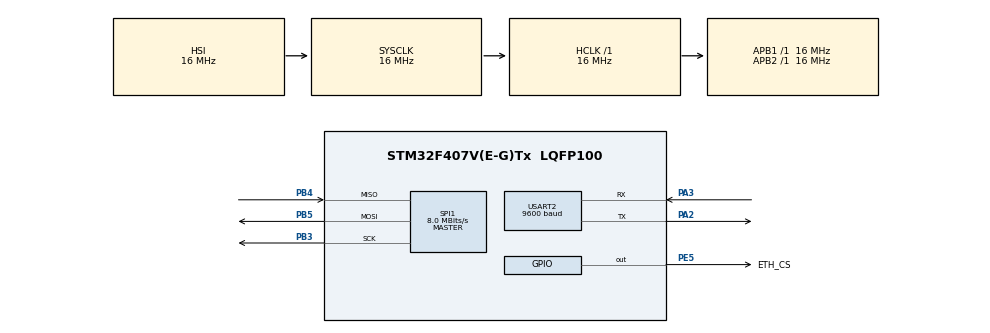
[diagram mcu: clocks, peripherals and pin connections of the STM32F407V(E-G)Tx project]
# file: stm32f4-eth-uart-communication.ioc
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Mcu.Family=STM32F4
Mcu.Name=STM32F407V(E-G)Tx
Mcu.Package=LQFP100
NVIC.PriorityGroup=NVIC_PRIORITYGROUP_4
NVIC.USART2_IRQn=true\:0\:0\:false\:false\:true\:true\:true
PA2.Mode=Asynchronous
PA2.Signal=USART2_TX
PA3.Mode=Asynchronous
PA3.Signal=USART2_RX
PB3.Mode=Full_Duplex_Master
PB3.Signal=SPI1_SCK
PB4.Mode=Full_Duplex_Master
PB4.Signal=SPI1_MISO
PB5.Mode=Full_Duplex_Master
PB5.Signal=SPI1_MOSI
PE5.GPIO_Label=ETH_CS
PE5.Signal=GPIO_Output
ProjectManager.HeapSize=0x200
ProjectManager.StackSize=0x400
ProjectManager.TargetToolchain=STM32CubeIDE
RCC.AHBFreq_Value=16000000
RCC.APB1Freq_Value=16000000
RCC.APB2Freq_Value=16000000
RCC.CortexFreq_Value=16000000
RCC.HSE_VALUE=25000000
RCC.HSI_VALUE=16000000
RCC.LSE_VALUE=32768
RCC.SYSCLKFreq_VALUE=16000000
RCC.VCOOutputFreq_Value=192000000
SPI1.CalculateBaudRate=8.0 MBits/s
SPI1.Direction=SPI_DIRECTION_2LINES
SPI1.Mode=SPI_MODE_MASTER
SPI1.VirtualType=VM_MASTER
USART2.BaudRate=9600
USART2.VirtualMode=VM_ASYNC
board=custom

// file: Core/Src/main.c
/* USER CODE BEGIN Header */
/**
  ******************************************************************************
  * @file           : main.c
  * @brief          : Main program body
  * @autor          : Leimer Guambaña
  ******************************************************************************
  * @attention
  *
  * <h2><center>&copy; Copyright (c) 2021 STMicroelectronics.
  * All rights reserved.</center></h2>
  *
  * This software component is licensed by ST under BSD 3-Clause license,
  * the "License"; You may not use this file except in compliance with the
  * License. You may obtain a copy of the License at:
  *                        opensource.org/licenses/BSD-3-Clause
  *
  ******************************************************************************\
  * Link Driver FT232R: https://www.usb-drivers.org/ft232r-usb-uart-driver.html
  * Link Pin out STM32F4 Shield: https://download.mikroe.com/documents/add-on-boards/click-shields/stm32f4-discovery/stm32f4-discovery-mikrobus-shield-user-manual-v100.pdf
  * Link Example 1: https://github.com/cnoviello/stm32-nucleof4/blob/master/stm32-nucleof4-ethshield1/src/main.c
  * Link Example 2: https://github.com/afiskon/stm32-w5500
  * Link Libreria ioLibrary_Driver:  https://github.com/Leimer-G/ioLibrary_Driver
  */
/* USER CODE END Header */

#include "main.h"

/* USER CODE BEGIN Includes */
#include <string.h>
#include <stdarg.h>
#include "stdio.h"

#include "socket.h"
#include "wizchip_conf.h"

/* USER CODE END Includes */

/* USER CODE BEGIN PD */

#define PORT_NUMBER   5000
#define SOCKET_NUMBER   0 //0-4
#define RX_UART_BUFFER_RECEPTION     15
#define RX_SOCKET_BUFFER_RECEPTION   15
/* USER CODE END PD */

SPI_HandleTypeDef hspi1;
UART_HandleTypeDef huart2;

/* USER CODE BEGIN PV */
uint8_t retVal, sockStatus;
uint8_t okReceptionUart = 1;

unsigned char recepcionSocket[RX_SOCKET_BUFFER_RECEPTION+1];
unsigned char recepcionUart[RX_UART_BUFFER_RECEPTION+1];

char buffer[256];
int lenBuffer;
/* USER CODE END PV */

void SystemClock_Config(void);
static void MX_GPIO_Init(void);
static void MX_SPI1_Init(void);
static void MX_USART2_UART_Init(void);
/* USER CODE BEGIN PFP */

void UART_Printf(const char *fmt);
void select_CS(void);
void unselect_CS(void);
void read_Buff(uint8_t *buff, uint16_t len);
void write_Buff(uint8_t *buff, uint16_t len);
uint8_t read_Byte(void);
void write_Byte(uint8_t byte);

void param_Connection(void);
void conectar_Socket_TCP(uint8_t socketNum, uint16_t portLocal);
void conectar_Socket_UDP(uint8_t socketNum, uint16_t portLocal);

/* USER CODE END PFP */

/* USER CODE BEGIN 0 */
void param_Connection() {
    UART_Printf("\r\ninit () llamado!\r\n");

    UART_Printf("Registro de devoluciones de llamada del W5500...\r\n");
    reg_wizchip_cs_cbfunc(select_CS, unselect_CS);
    reg_wizchip_spi_cbfunc(read_Byte, write_Byte);
    reg_wizchip_spiburst_cbfunc(read_Buff, write_Buff);

    UART_Printf("Iniciando funcion wizchip_init ()\r\n");
    uint8_t rx_tx_buff_sizes[] = {2, 2, 2, 2, 2, 2, 2, 2};
    wizchip_init(rx_tx_buff_sizes, rx_tx_buff_sizes);

    wiz_NetInfo net_info = { .mac 	= {0x00, 0x08, 0xdc, 0xab, 0xcd, 0xef},	// Mac address
                             .ip 	= {192, 168, 0, 20},					// IP address
                             .sn 	= {255, 255, 255, 0},					// Subnet mask
                             .gw 	= {192, 168, 0, 1},					// Gateway address
    						 .dns 	= {8, 8, 8, 8}};					// DNS

     UART_Printf("Iniciando funcion wizchip_setnetinfo ()\r\n");
     wizchip_setnetinfo(&net_info);
     wizchip_getnetinfo(&net_info);

    sprintf(buffer, "IP:  %d.%d.%d.%d\r\nGW:  %d.%d.%d.%d\r\nNet: %d.%d.%d.%d\r\nDNS: %d.%d.%d.%d\r\n",
            net_info.ip[0], net_info.ip[1], net_info.ip[2], net_info.ip[3],
            net_info.gw[0], net_info.gw[1], net_info.gw[2], net_info.gw[3],
            net_info.sn[0], net_info.sn[1], net_info.sn[2], net_info.sn[3],
    		net_info.dns[0], net_info.dns[1], net_info.dns[2], net_info.dns[3]);
    UART_Printf(buffer);
}

void conectar_Socket_UDP(uint8_t socketNum, uint16_t portLocal){
	/**Es necesario enviar un dato por socket debido:
	 * A que es necesario una IP de destino
	 * Al recibir un mensaje por socket este obtiene la IP y la guarda
	 * Se podria omitir este paso asignando una IP fija para ip Destination
	 * 		ejm ->uint8_t ipDestination[4] = {192.168.0.50}; // IP PC
	 */
	if((retVal = socket(socketNum, Sn_MR_UDP, portLocal, 0)) == 0){
		uint8_t ipDestination[4];
		uint16_t portDestination;
		uint16_t len;
		uint8_t sockInterrupt;
		uint32_t revDatagram;
		okReceptionUart = 1;
		while(1){
			/*Comprobamos si el estatus del socket esta en UPD*/
			if((sockStatus = getSn_SR(socketNum)) == SOCK_UDP) {
				/*Comprueba el servicio de interrupcion y verifica si existen datos entrantes*/
				if((sockInterrupt=getSn_IR(socketNum)) == Sn_IR_RECV){//verifica si llego datos verificar con o  Sn_IR values en w5500.h
					setSn_IR(socketNum, Sn_IR_RECV); /*Set el servicio de interruciones con la recepcion de datos*/
					/*Verificamos la longitud de buffer recibido*/
					if((len=getSn_RX_RSR(socketNum)) > 0){
						/*Recibimos los datos*/
						if((revDatagram=recvfrom(socketNum, recepcionSocket, len, ipDestination, &portDestination)) > 0){
							sprintf(buffer, "Dato recibido: * %s * de la IP Remota: %d.%d.%d.%d: %d\r\n",
									recepcionSocket,
									ipDestination[0], ipDestination[1], ipDestination[2], ipDestination[3], portDestination);
							UART_Printf(buffer);
							for( int i = 0; i < sizeof(recepcionSocket);  ++i )
								recepcionSocket[i] = (char)0;
						}else {
							sprintf(buffer, "Algo salio mal; Receive datagram : %ld\r\n", revDatagram);
							UART_Printf(buffer);
						}
					}
				}
                /*Compruebo si exiten datos recibidos por UART (Interrupcion)*/
				if (!okReceptionUart) {
					okReceptionUart = 1;
					/*Enviamos datos enviados de Uart por socket UDP*/
					retVal = sendto(socketNum, recepcionUart, sizeof(recepcionUart), ipDestination, portDestination);
					/*Verificamos envio correcto*/
					if (retVal == (int16_t) sizeof(recepcionUart)){
						sprintf(buffer, "Mensaje Enviando a la IP Remota: %d.%d.%d.%d: %d\r\n",
								ipDestination[0], ipDestination[1], ipDestination[2], ipDestination[3], portDestination);
						UART_Printf(buffer);
					}else{
						sprintf(buffer, "Algo salio mal; Return Value: %d\r\n", retVal);
						UART_Printf(buffer);
					}
				}
			}else if(sockStatus == SOCK_CLOSED) break;
			HAL_Delay(100);
		}
	}
}

void conectar_Socket_TCP(uint8_t socketNum, uint16_t portLocal){
	/* Abra el socket 0 como TCP_SOCKET con el puerto 5000*/
	if((retVal = socket(socketNum, Sn_MR_TCP, 5000, 0)) == 0) {
		/* Ponga el Socket en modo ESCUCHAR. Esto significa que estamos creando un servidor TCP. */
		if((retVal = listen(socketNum)) == SOCK_OK) {
			UART_Printf("Esperando conexion con el Socket...\r\n");
			/* Mientras el socket está en modo ESCUCHAR, esperamos una conexión remota */
			while((sockStatus = getSn_SR(socketNum)) == SOCK_LISTEN) HAL_Delay(500);

			okReceptionUart = 1;
			uint16_t len;
			uint8_t sockInterrupt;
			uint8_t ipDestination[4];
			uint16_t portDestination;
			uint32_t revData;
			/* Si la conexión está ESTABLECIDA con peer remoto*/
			while(1) {
				/* If connection is ESTABLISHED with remote peer */
				if((sockStatus = getSn_SR(socketNum)) == SOCK_ESTABLISHED) {
					/* Enviamos mensaje recibido de Uart */
					if(!okReceptionUart){
						okReceptionUart = 1;
						/* Recuperación del número de puerto y la IP del par remoto */
						getsockopt(socketNum, SO_DESTIP, ipDestination);
						getsockopt(socketNum, SO_DESTPORT, (uint8_t*)&portDestination);
						retVal = send(socketNum, recepcionUart, sizeof(recepcionUart));
						if( retVal == (int16_t)sizeof(recepcionUart)){
							sprintf(buffer, "Mensaje Enviando a la IP Remota: %d.%d.%d.%d: %d\r\n",
									ipDestination[0], ipDestination[1], ipDestination[2], ipDestination[3], portDestination);
							UART_Printf(buffer);
						}else{
							sprintf(buffer, "Algo salio mal; Return Value: %d\r\n", retVal);
							UART_Printf(buffer);
						}
					}

					/* Enviamos mensaje recibido de Socket */
					if((sockInterrupt = getSn_IR(socketNum)) == Sn_IR_CON){
						sprintf(buffer,"Conexion con el Socket Exitosa!, Socket Interrupt Value: %d\r\n", sockInterrupt);
						UART_Printf(buffer);
						setSn_IR(socketNum, Sn_IR_CON);
					}else if(sockInterrupt == Sn_IR_RECV || sockInterrupt == (Sn_IR_RECV|Sn_IR_SENDOK) ){
						setSn_IR(socketNum, Sn_IR_RECV);
						if ((len = getSn_RX_RSR(socketNum)) > 0){
							if((revData=recv(0,recepcionSocket, len)) > 0){
								getSn_DIPR(socketNum, ipDestination);
								portDestination = getSn_DPORT(socketNum);
								sprintf(buffer, "Dato recibido: * %s * de la IP Remota: %d.%d.%d.%d: %d\r\n",
										recepcionSocket,
										ipDestination[0], ipDestination[1], ipDestination[2], ipDestination[3], portDestination);
								UART_Printf(buffer);
								for( int i = 0; i < sizeof(recepcionSocket);  ++i )
									recepcionSocket[i] = (char)0;
							}else{
								sprintf(buffer, "Algo salio mal; Receive data : %ld\r\n", revData);
								UART_Printf(buffer);
							}
						}
					}
					HAL_Delay(500);
				}else{
					if(sockStatus == SOCK_CLOSE_WAIT) UART_Printf( "Socket cerrado\r\n");
					else{
						sprintf(buffer, "Algo salio mal; Socket Status: %d\r\n", sockStatus); /* Algo salió mal con el par remoto, tal vez la conexión se cerró inesperadamente */
						UART_Printf(buffer);
					}
					break;
				}
			}
		}else UART_Printf("LISTEN¡ Error!\r\n"); /* Ops: el socket no está en modo ESCUCHAR. Algo salió mal */
	}else{
		sprintf(buffer, "Algo salió mal; Return Value:%d\r\n", retVal); /* No se puede abrir el Socket. Esto significa que algo está mal con la configuración del W5100: ¿tal vez un problema de SPI? */
		UART_Printf(buffer);
	}

	/* Cerramos el socket y volvemos a iniciar una conexión. */
	disconnect(socketNum);
	close(socketNum);

}

void HAL_UART_RxCpltCallback ( UART_HandleTypeDef *huart ){
	if(huart->Instance == USART2)
		okReceptionUart = HAL_UART_Receive_IT(&huart2, recepcionUart, RX_UART_BUFFER_RECEPTION);
	else
		HAL_UART_Receive_IT(&huart2, recepcionUart, RX_UART_BUFFER_RECEPTION);
}

/* USER CODE END 0 */

int main(void)
{

  /* MCU Configuration--------------------------------------------------------*/

  /* Reset of all peripherals, Initializes the Flash interface and the Systick. */
  HAL_Init();

  /* Configure the system clock */
  SystemClock_Config();

  /* Initialize all configured peripherals */
  MX_GPIO_Init();
  MX_SPI1_Init();
  MX_USART2_UART_Init();
  /* USER CODE BEGIN 2 */
  HAL_UART_Receive_IT(&huart2, recepcionUart, RX_UART_BUFFER_RECEPTION);
  /* USER CODE END 2 */

  /* Infinite loop */
  /* USER CODE BEGIN WHILE */
  /*Configura parametros iniciales para W5500*/
  param_Connection();

  while (1)
  {
    /* USER CODE END WHILE */

    /* USER CODE BEGIN 3 */

	  /*Descomentar para conexion UDP*/
	  conectar_Socket_TCP(SOCKET_NUMBER, PORT_NUMBER);
	  /*Descomentar para conexion TCP*/
//	  conectar_Socket_UDP(SOCKET_NUMBER, PORT_NUMBER);
	  /*Nota. No descomentar los ambos*/
  }
  /* USER CODE END 3 */
}

void SystemClock_Config(void)
{
  RCC_OscInitTypeDef RCC_OscInitStruct = {0};
  RCC_ClkInitTypeDef RCC_ClkInitStruct = {0};

  /** Configure the main internal regulator output voltage
  */
  __HAL_RCC_PWR_CLK_ENABLE();
  __HAL_PWR_VOLTAGESCALING_CONFIG(PWR_REGULATOR_VOLTAGE_SCALE1);
  /** Initializes the CPU, AHB and APB busses clocks
  */
  RCC_OscInitStruct.OscillatorType = RCC_OSCILLATORTYPE_HSI;
  RCC_OscInitStruct.HSIState = RCC_HSI_ON;
  RCC_OscInitStruct.HSICalibrationValue = RCC_HSICALIBRATION_DEFAULT;
  RCC_OscInitStruct.PLL.PLLState = RCC_PLL_NONE;
  if (HAL_RCC_OscConfig(&RCC_OscInitStruct) != HAL_OK)
  {
    Error_Handler();
  }
  /** Initializes the CPU, AHB and APB busses clocks
  */
  RCC_ClkInitStruct.ClockType = RCC_CLOCKTYPE_HCLK|RCC_CLOCKTYPE_SYSCLK
                              |RCC_CLOCKTYPE_PCLK1|RCC_CLOCKTYPE_PCLK2;
  RCC_ClkInitStruct.SYSCLKSource = RCC_SYSCLKSOURCE_HSI;
  RCC_ClkInitStruct.AHBCLKDivider = RCC_SYSCLK_DIV1;
  RCC_ClkInitStruct.APB1CLKDivider = RCC_HCLK_DIV1;
  RCC_ClkInitStruct.APB2CLKDivider = RCC_HCLK_DIV1;

  if (HAL_RCC_ClockConfig(&RCC_ClkInitStruct, FLASH_LATENCY_0) != HAL_OK)
  {
    Error_Handler();
  }
}

static void MX_SPI1_Init(void)
{

  /* SPI1 parameter configuration*/
  hspi1.Instance = SPI1;
  hspi1.Init.Mode = SPI_MODE_MASTER;
  hspi1.Init.Direction = SPI_DIRECTION_2LINES;
  hspi1.Init.DataSize = SPI_DATASIZE_8BIT;
  hspi1.Init.CLKPolarity = SPI_POLARITY_LOW;
  hspi1.Init.CLKPhase = SPI_PHASE_1EDGE;
  hspi1.Init.NSS = SPI_NSS_SOFT;
  hspi1.Init.BaudRatePrescaler = SPI_BAUDRATEPRESCALER_2;
  hspi1.Init.FirstBit = SPI_FIRSTBIT_MSB;
  hspi1.Init.TIMode = SPI_TIMODE_DISABLE;
  hspi1.Init.CRCCalculation = SPI_CRCCALCULATION_DISABLE;
  hspi1.Init.CRCPolynomial = 10;
  if (HAL_SPI_Init(&hspi1) != HAL_OK)
  {
    Error_Handler();
  }

}

static void MX_USART2_UART_Init(void)
{

  huart2.Instance = USART2;
  huart2.Init.BaudRate = 9600;
  huart2.Init.WordLength = UART_WORDLENGTH_8B;
  huart2.Init.StopBits = UART_STOPBITS_1;
  huart2.Init.Parity = UART_PARITY_NONE;
  huart2.Init.Mode = UART_MODE_TX_RX;
  huart2.Init.HwFlowCtl = UART_HWCONTROL_NONE;
  huart2.Init.OverSampling = UART_OVERSAMPLING_16;
  if (HAL_UART_Init(&huart2) != HAL_OK)
  {
    Error_Handler();
  }

}

static void MX_GPIO_Init(void)
{
  GPIO_InitTypeDef GPIO_InitStruct = {0};

  /* GPIO Ports Clock Enable */
  __HAL_RCC_GPIOE_CLK_ENABLE();
  __HAL_RCC_GPIOA_CLK_ENABLE();
  __HAL_RCC_GPIOB_CLK_ENABLE();

  /*Configure GPIO pin Output Level */
  HAL_GPIO_WritePin(ETH_CS_GPIO_Port, ETH_CS_Pin, GPIO_PIN_RESET);

  /*Configure GPIO pin : ETH_CS_Pin */
  GPIO_InitStruct.Pin = ETH_CS_Pin;
  GPIO_InitStruct.Mode = GPIO_MODE_OUTPUT_PP;
  GPIO_InitStruct.Pull = GPIO_NOPULL;
  GPIO_InitStruct.Speed = GPIO_SPEED_FREQ_LOW;
  HAL_GPIO_Init(ETH_CS_GPIO_Port, &GPIO_InitStruct);

}

/* USER CODE BEGIN 4 */
//UART_Printf("Texto : %d\r\n", datoAadjuntar);
//void UART_Printf(const char* fmt, ...) {
//      char buff[256];
//      va_list args;
//      va_start(args, fmt);
//      vsnprintf(buff, sizeof(buff), fmt, args);
//      HAL_UART_Transmit(&huart2, (uint8_t*)buff, strlen(buff), HAL_MAX_DELAY);
//      va_end(args);
//}
  void UART_Printf(const char* fmt){
      HAL_UART_Transmit(&huart2, (uint8_t*)fmt, strlen(fmt), HAL_MAX_DELAY);
  }

  void select_CS(void) {
      HAL_GPIO_WritePin(ETH_CS_GPIO_Port, ETH_CS_Pin, GPIO_PIN_RESET);
  }

  void unselect_CS(void) {
      HAL_GPIO_WritePin(ETH_CS_GPIO_Port, ETH_CS_Pin, GPIO_PIN_SET);
  }

  void read_Buff( uint8_t* buff, uint16_t len) {
      HAL_SPI_Receive(&hspi1, buff, len, HAL_MAX_DELAY);
  }

  void write_Buff(uint8_t* buff, uint16_t len) {
      HAL_SPI_Transmit(&hspi1, buff, len, HAL_MAX_DELAY);
  }

  uint8_t read_Byte(void) {
      uint8_t byte;
      read_Buff(&byte, sizeof(byte));
      return byte;
  }

  void write_Byte(uint8_t byte) {
      write_Buff(&byte, sizeof(byte));
  }

/* USER CODE END 4 */

void Error_Handler(void)
{
}

/************************ (C) COPYRIGHT STMicroelectronics *****END OF FILE****/
